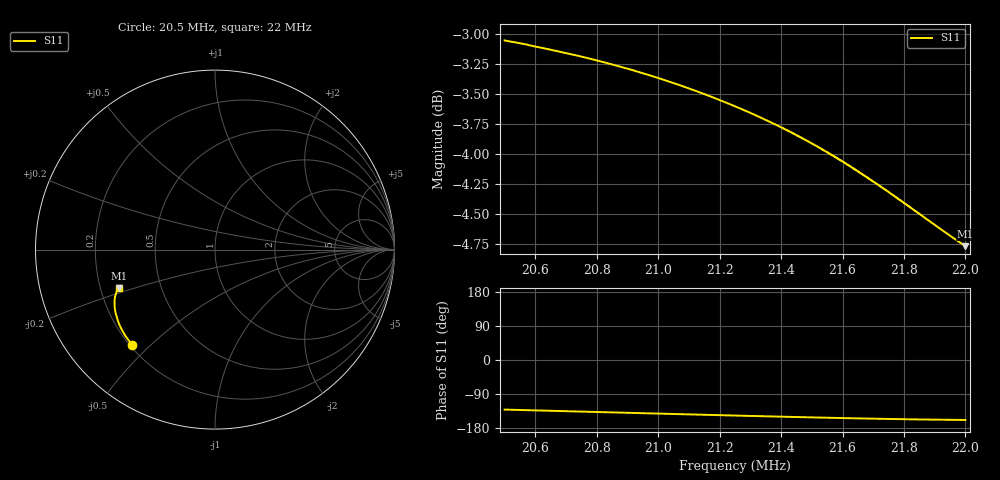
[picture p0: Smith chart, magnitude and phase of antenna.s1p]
! Calibrated three-pass averaged EFHW harmonic sweep
# Hz S RI R 50
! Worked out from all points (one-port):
!   2001 points, 20.5 MHz to 22 MHz, reference 50 ohm
!   lowest |S11| = -4.8 dB at 22 MHz (marker M1), VSWR 3.74, Z = 13.8 - j8.89 ohm
!   |S11| at or under -10 dB: nowhere
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2.05e7  -0.4601 -0.532
2.05075e7  -0.4613 -0.5305
2.056525e7  -0.4711 -0.5189
2.06875e7  -0.4902 -0.4933
2.0764e7  -0.5015 -0.4766
2.0875e7  -0.5162 -0.4519
2.096725e7  -0.527 -0.4306
2.10625e7  -0.5367 -0.4084
2.115775e7  -0.5449 -0.3858
2.120725e7  -0.5485 -0.3739
2.125e7  -0.5512 -0.3637
2.129725e7  -0.5538 -0.3524
2.134675e7  -0.5561 -0.3406
2.139175e7  -0.5578 -0.33
2.14375e7  -0.559 -0.3192
2.1481e7  -0.5597 -0.309
2.1532e7  -0.5599 -0.2973
2.15755e7  -0.5598 -0.2875
2.1625e7  -0.5589 -0.2766
2.167975e7  -0.5573 -0.2651
2.17255e7  -0.5552 -0.2559
2.17645e7  -0.5533 -0.2485
2.18125e7  -0.5506 -0.24
2.18575e7  -0.5476 -0.2326
2.19115e7  -0.5437 -0.2246
2.196175e7  -0.5397 -0.2181
2.19895e7  -0.5375 -0.2151
2.2e7  -0.5366 -0.214
